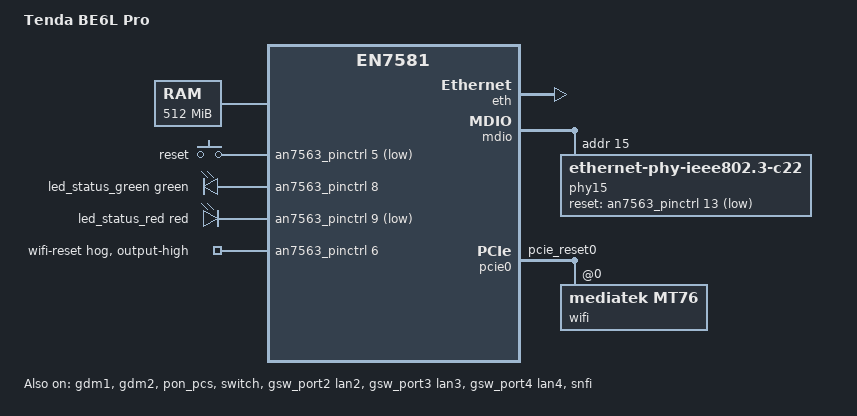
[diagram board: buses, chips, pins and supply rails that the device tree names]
// SPDX-License-Identifier: (GPL-2.0-only OR BSD-2-Clause)
/dts-v1/;

/memreserve/ 0x80000000 0x88000;

#include "an7563.dtsi"
#include <dt-bindings/gpio/gpio.h>
#include <dt-bindings/input/input.h>

/ {
	model = "Tenda BE6L Pro";
	compatible = "tenda,be6l-pro", "airoha,an7563", "airoha,en7581";

	aliases {
		serial0 = &uart1;
		led-boot = &led_status_green;
		led-failsafe = &led_status_red;
		led-running = &led_status_green;
		led-upgrade = &led_status_red;
	};

	chosen {
		stdout-path = "serial0:115200n8";
		bootargs-override = "console=ttyS0,115200n8 earlycon ubi.mtd=ubi";
	};

	memory@80000000 {
		device_type = "memory";
		reg = <0x80000000 0x20000000>;
	};

	gpio-keys {
		compatible = "gpio-keys";

		reset {
			label = "reset";
			linux,code = <KEY_RESTART>;
			gpios = <&an7563_pinctrl 5 GPIO_ACTIVE_LOW>;
			debounce-interval = <10>;
		};
	};

	gpio-leds {
		compatible = "gpio-leds";

		led_status_green: led-green {
			function = LED_FUNCTION_STATUS;
			color = <LED_COLOR_ID_GREEN>;
			gpios = <&an7563_pinctrl 8 GPIO_ACTIVE_HIGH>;
		};

		led_status_red: led-red {
			function = LED_FUNCTION_STATUS;
			color = <LED_COLOR_ID_RED>;
			gpios = <&an7563_pinctrl 9 GPIO_ACTIVE_LOW>;
		};
	};
};

&an7563_pinctrl {
	wifi-reset-hog {
		gpio-hog;
		gpios = <6 GPIO_ACTIVE_HIGH>;
		output-high;
		line-name = "wifi-reset";
	};

	mdio_pins: mdio-pins {
		mux {
			function = "mdio";
			groups = "mdio";
		};
	};

	pcie0_rst_pins: pcie0-rst-pins {
		conf {
			pins = "pcie_reset0";
			drive-open-drain = <1>;
		};
	};
};

&eth {
	status = "okay";
};

&gdm1 {
	status = "okay";
	nvmem-cells = <&macaddr_factory_4 (-16)>;
	nvmem-cell-names = "mac-address";
};

&gdm2 {
	phy-mode = "2500base-x";
	phy-handle = <&phy15>;
	openwrt,netdev-name = "wan";
	status = "okay";

	nvmem-cells = <&macaddr_factory_4 (-15)>;
	nvmem-cell-names = "mac-address";
};

&pon_pcs {
	status = "okay";
};

&switch {
	status = "okay";
	pinctrl-names = "default";
	pinctrl-0 = <&mdio_pins>;
};

&gsw_port2 {
	label = "lan2";
	status = "okay";
};

&gsw_port3 {
	label = "lan3";
	status = "okay";
};

&gsw_port4 {
	label = "lan4";
	status = "okay";
};

&mdio {
	phy15: ethernet-phy@f {
		compatible = "ethernet-phy-ieee802.3-c22";
		reg = <15>;
		reset-gpios = <&an7563_pinctrl 13 GPIO_ACTIVE_LOW>;
		reset-assert-us = <250000>;
		reset-deassert-us = <20000>;
	};
};

&pcie0 {
	pinctrl-names = "default";
	pinctrl-0 = <&pcie0_rst_pins>;
	status = "okay";

	pcie@0,0 {
		reg = <0x0000 0 0 0 0>;
		device_type = "pci";
		#address-cells = <3>;
		#size-cells = <2>;
		ranges;

		wifi@0,0 {
			compatible = "mediatek,mt76";
			reg = <0x0000 0 0 0 0>;
			nvmem-cells = <&eeprom_factory_0>;
			nvmem-cell-names = "eeprom";
		};
	};
};

&snfi {
	status = "okay";
};

&spi_nand {
	airoha,bmt;

	partitions {
		compatible = "fixed-partitions";
		#address-cells = <1>;
		#size-cells = <1>;

		partition@0 {
			label = "Bootloader";
			reg = <0x00000000 0x00080000>;
			read-only;
		};

		partition@80000 {
			label = "u-boot-env";
			reg = <0x00080000 0x00080000>;
			read-only;
		};

		partition@100000 {
			label = "Factory";
			reg = <0x00100000 0x00400000>;
			read-only;

			nvmem-layout {
				compatible = "fixed-layout";
				#address-cells = <1>;
				#size-cells = <1>;

				eeprom_factory_0: eeprom@0 {
					reg = <0x0 0x1e00>;
				};

				macaddr_factory_4: macaddr@4 {
					compatible = "mac-base";
					reg = <0x4 0x6>;
					#nvmem-cell-cells = <1>;
				};
			};
		};

		partition@500000 {
			label = "kernel";
			reg = <0x00500000 0x00600000>;
		};

		/* Remaining KernelFS1, KernelFS2, CFM and CFM_BACKUP. */
		partition@b00000 {
			label = "ubi";
			reg = <0x00b00000 0x05980000>;
		};

		partition@6480000 {
			label = "CFG";
			reg = <0x06480000 0x00400000>;
			read-only;
		};

		partition@6880000 {
			label = "MISC2";
			reg = <0x06880000 0x00400000>;
			read-only;
		};

		partition@6c80000 {
			label = "art";
			reg = <0x06c80000 0x00380000>;
			read-only;
		};
	};
};
